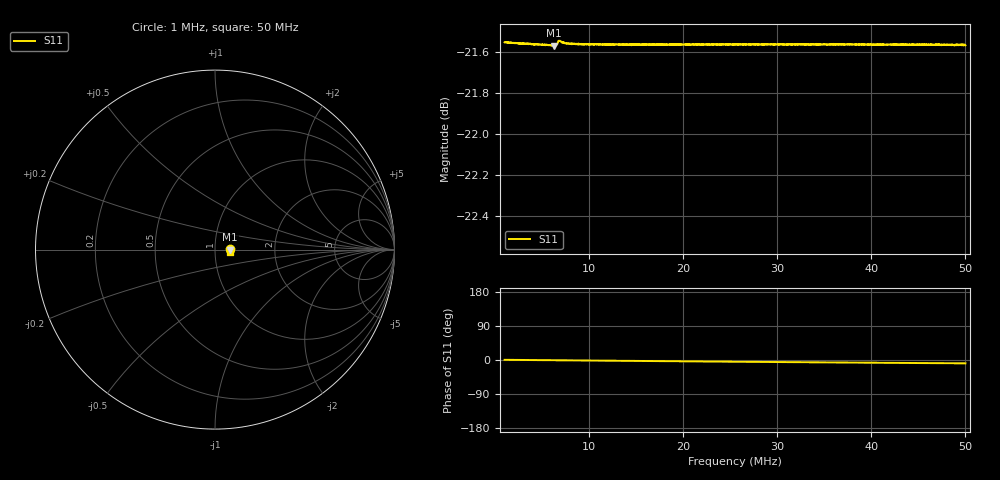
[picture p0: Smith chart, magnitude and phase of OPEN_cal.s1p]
! Created with skrf (http://scikit-rf.org).
# Hz S RI R 50.0
!freq ReS11 ImS11
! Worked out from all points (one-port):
!   2000 points, 1 MHz to 50 MHz, reference 50 ohm
!   lowest |S11| = -21.6 dB at 6.221 MHz (marker M1), VSWR 1.18, Z = 59.1 - j0.102 ohm
!   |S11| at or under -10 dB: start of sweep to end of sweep
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1000000  0.0836 0.000777
2887424  0.0835 0.000136
5093504  0.0835 -0.000555
6221056  0.0835 -0.000858
6368128  0.0835 -0.000899
6441664  0.0835 -0.000886
6686784  0.0836 -0.000867
6833856  0.0837 -0.000994
6956416  0.0837 -0.00108
7128000  0.0836 -0.00115
7348608  0.0836 -0.00123
7667264  0.0836 -0.00133
8525184  0.0835 -0.00159
1.180979e7  0.0835 -0.0026
1.3256e7  0.0835 -0.00303
1.455514e7  0.0834 -0.00342
1.9384e7  0.0834 -0.00484
2.5512e7  0.0833 -0.0066
3.164e7  0.0831 -0.00828
3.536582e7  0.083 -0.00923
3.597862e7  0.083 -0.00939
3.7768e7  0.083 -0.00985
4.3896e7  0.0827 -0.0114
4.661683e7  0.0826 -0.012
4.713158e7  0.0826 -0.0122
4.86023e7  0.0826 -0.0125
4.970534e7  0.0825 -0.0127
4.999949e7  0.0825 -0.0128
